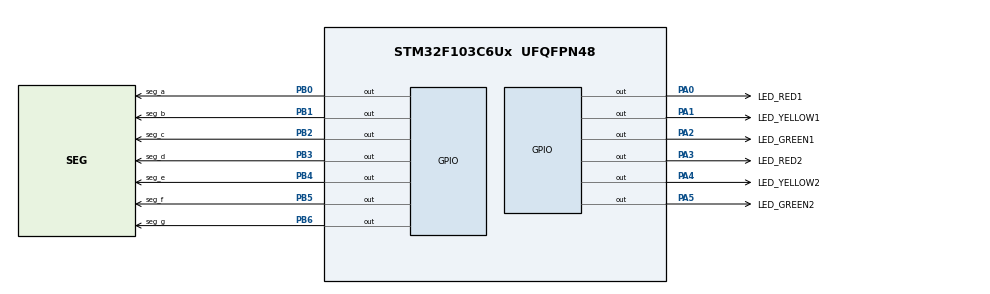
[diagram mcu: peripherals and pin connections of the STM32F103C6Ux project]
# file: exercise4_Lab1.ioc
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Mcu.Family=STM32F1
Mcu.Name=STM32F103C6Ux
Mcu.Package=UFQFPN48
NVIC.PriorityGroup=NVIC_PRIORITYGROUP_4
PA0-WKUP.GPIO_Label=LED_RED1
PA0-WKUP.Signal=GPIO_Output
PA1.GPIO_Label=LED_YELLOW1
PA1.Signal=GPIO_Output
PA2.GPIO_Label=LED_GREEN1
PA2.Signal=GPIO_Output
PA3.GPIO_Label=LED_RED2
PA3.Signal=GPIO_Output
PA4.GPIO_Label=LED_YELLOW2
PA4.Signal=GPIO_Output
PA5.GPIO_Label=LED_GREEN2
PA5.Signal=GPIO_Output
PB0.GPIO_Label=seg_a
PB0.Signal=GPIO_Output
PB1.GPIO_Label=seg_b
PB1.Signal=GPIO_Output
PB2.GPIO_Label=seg_c
PB2.Signal=GPIO_Output
PB3.GPIO_Label=seg_d
PB3.Signal=GPIO_Output
PB4.GPIO_Label=seg_e
PB4.Signal=GPIO_Output
PB5.GPIO_Label=seg_f
PB5.Signal=GPIO_Output
PB6.GPIO_Label=seg_g
PB6.Signal=GPIO_Output
ProjectManager.HeapSize=0x200
ProjectManager.StackSize=0x400
ProjectManager.TargetToolchain=STM32CubeIDE
RCC.APB1Freq_Value=8000000
RCC.APB2Freq_Value=8000000
VP_SYS_VS_ND.Mode=No_Debug
board=custom

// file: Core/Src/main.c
/* USER CODE BEGIN Header */
/**
  ******************************************************************************
  * @file           : main.c
  * @brief          : Main program body
  ******************************************************************************
  * @attention
  *
  * <h2><center>&copy; Copyright (c) 2023 STMicroelectronics.
  * All rights reserved.</center></h2>
  *
  * This software component is licensed by ST under BSD 3-Clause license,
  * the "License"; You may not use this file except in compliance with the
  * License. You may obtain a copy of the License at:
  *                        opensource.org/licenses/BSD-3-Clause
  *
  ******************************************************************************
  */
/* USER CODE END Header */
#include "main.h"

void SystemClock_Config(void);
static void MX_GPIO_Init(void);

int main(void)
{

  /* MCU Configuration--------------------------------------------------------*/

  /* Reset of all peripherals, Initializes the Flash interface and the Systick. */
  HAL_Init();

  /* Configure the system clock */
  SystemClock_Config();

  /* Initialize all configured peripherals */
  MX_GPIO_Init();

  /* Infinite loop */
  /* USER CODE BEGIN WHILE */
  void display7SEG(int num){
  	switch(num){
  	case 0:
  		HAL_GPIO_WritePin(GPIOB,seg_a_Pin,GPIO_PIN_RESET);
  		HAL_GPIO_WritePin(GPIOB,seg_b_Pin,GPIO_PIN_RESET);
  		HAL_GPIO_WritePin(GPIOB,seg_c_Pin,GPIO_PIN_RESET);
  		HAL_GPIO_WritePin(GPIOB,seg_d_Pin,GPIO_PIN_RESET);
  		HAL_GPIO_WritePin(GPIOB,seg_e_Pin,GPIO_PIN_RESET);
  		HAL_GPIO_WritePin(GPIOB,seg_f_Pin,GPIO_PIN_RESET);
  		HAL_GPIO_WritePin(GPIOB,seg_g_Pin,GPIO_PIN_SET);
  		break;
  	case 1:
  		HAL_GPIO_WritePin(GPIOB,seg_a_Pin,GPIO_PIN_SET);
  		HAL_GPIO_WritePin(GPIOB,seg_b_Pin,GPIO_PIN_RESET);
  		HAL_GPIO_WritePin(GPIOB,seg_c_Pin,GPIO_PIN_RESET);
  		HAL_GPIO_WritePin(GPIOB,seg_d_Pin,GPIO_PIN_SET);
  		HAL_GPIO_WritePin(GPIOB,seg_e_Pin,GPIO_PIN_SET);
  		HAL_GPIO_WritePin(GPIOB,seg_f_Pin,GPIO_PIN_SET);
  		HAL_GPIO_WritePin(GPIOB,seg_g_Pin,GPIO_PIN_SET);
  		break;
  	case 2:
  		HAL_GPIO_WritePin(GPIOB,seg_a_Pin,GPIO_PIN_RESET);
  		HAL_GPIO_WritePin(GPIOB,seg_b_Pin,GPIO_PIN_RESET);
  		HAL_GPIO_WritePin(GPIOB,seg_c_Pin,GPIO_PIN_SET);
  		HAL_GPIO_WritePin(GPIOB,seg_d_Pin,GPIO_PIN_RESET);
  		HAL_GPIO_WritePin(GPIOB,seg_e_Pin,GPIO_PIN_RESET);
  		HAL_GPIO_WritePin(GPIOB,seg_f_Pin,GPIO_PIN_SET);
  		HAL_GPIO_WritePin(GPIOB,seg_g_Pin,GPIO_PIN_RESET);
  		break;
  	case 3:
  		HAL_GPIO_WritePin(GPIOB,seg_a_Pin,GPIO_PIN_RESET);
  		HAL_GPIO_WritePin(GPIOB,seg_b_Pin,GPIO_PIN_RESET);
  		HAL_GPIO_WritePin(GPIOB,seg_c_Pin,GPIO_PIN_RESET);
  		HAL_GPIO_WritePin(GPIOB,seg_d_Pin,GPIO_PIN_RESET);
  		HAL_GPIO_WritePin(GPIOB,seg_e_Pin,GPIO_PIN_SET);
  		HAL_GPIO_WritePin(GPIOB,seg_f_Pin,GPIO_PIN_SET);
  		HAL_GPIO_WritePin(GPIOB,seg_g_Pin,GPIO_PIN_RESET);
  		break;
  	case 4:
  		HAL_GPIO_WritePin(GPIOB,seg_a_Pin,GPIO_PIN_SET);
  		HAL_GPIO_WritePin(GPIOB,seg_b_Pin,GPIO_PIN_RESET);
  		HAL_GPIO_WritePin(GPIOB,seg_c_Pin,GPIO_PIN_RESET);
  		HAL_GPIO_WritePin(GPIOB,seg_d_Pin,GPIO_PIN_SET);
  		HAL_GPIO_WritePin(GPIOB,seg_e_Pin,GPIO_PIN_SET);
  		HAL_GPIO_WritePin(GPIOB,seg_f_Pin,GPIO_PIN_RESET);
  		HAL_GPIO_WritePin(GPIOB,seg_g_Pin,GPIO_PIN_RESET);
  		break;
  	case 5:
  		HAL_GPIO_WritePin(GPIOB,seg_a_Pin,GPIO_PIN_RESET);
  		HAL_GPIO_WritePin(GPIOB,seg_b_Pin,GPIO_PIN_SET);
  		HAL_GPIO_WritePin(GPIOB,seg_c_Pin,GPIO_PIN_RESET);
  		HAL_GPIO_WritePin(GPIOB,seg_d_Pin,GPIO_PIN_RESET);
  		HAL_GPIO_WritePin(GPIOB,seg_e_Pin,GPIO_PIN_SET);
  		HAL_GPIO_WritePin(GPIOB,seg_f_Pin,GPIO_PIN_RESET);
  		HAL_GPIO_WritePin(GPIOB,seg_g_Pin,GPIO_PIN_RESET);
  		break;
  	case 6:
  		HAL_GPIO_WritePin(GPIOB,seg_a_Pin,GPIO_PIN_RESET);
  		HAL_GPIO_WritePin(GPIOB,seg_b_Pin,GPIO_PIN_SET);
  		HAL_GPIO_WritePin(GPIOB,seg_c_Pin,GPIO_PIN_RESET);
  		HAL_GPIO_WritePin(GPIOB,seg_d_Pin,GPIO_PIN_RESET);
  		HAL_GPIO_WritePin(GPIOB,seg_e_Pin,GPIO_PIN_RESET);
  		HAL_GPIO_WritePin(GPIOB,seg_f_Pin,GPIO_PIN_RESET);
  		HAL_GPIO_WritePin(GPIOB,seg_g_Pin,GPIO_PIN_RESET);
  		break;
  	case 7:
  		HAL_GPIO_WritePin(GPIOB,seg_a_Pin,GPIO_PIN_RESET);
  		HAL_GPIO_WritePin(GPIOB,seg_b_Pin,GPIO_PIN_RESET);
  		HAL_GPIO_WritePin(GPIOB,seg_c_Pin,GPIO_PIN_RESET);
  		HAL_GPIO_WritePin(GPIOB,seg_d_Pin,GPIO_PIN_SET);
  		HAL_GPIO_WritePin(GPIOB,seg_e_Pin,GPIO_PIN_SET);
  		HAL_GPIO_WritePin(GPIOB,seg_f_Pin,GPIO_PIN_SET);
  		HAL_GPIO_WritePin(GPIOB,seg_g_Pin,GPIO_PIN_SET);
  		break;
  	case 8:
  		HAL_GPIO_WritePin(GPIOB,seg_a_Pin,GPIO_PIN_RESET);
  		HAL_GPIO_WritePin(GPIOB,seg_b_Pin,GPIO_PIN_RESET);
  		HAL_GPIO_WritePin(GPIOB,seg_c_Pin,GPIO_PIN_RESET);
  		HAL_GPIO_WritePin(GPIOB,seg_d_Pin,GPIO_PIN_RESET);
  		HAL_GPIO_WritePin(GPIOB,seg_e_Pin,GPIO_PIN_RESET);
  		HAL_GPIO_WritePin(GPIOB,seg_f_Pin,GPIO_PIN_RESET);
  		HAL_GPIO_WritePin(GPIOB,seg_g_Pin,GPIO_PIN_RESET);
  		break;
  	case 9:
  		HAL_GPIO_WritePin(GPIOB,seg_a_Pin,GPIO_PIN_RESET);
  		HAL_GPIO_WritePin(GPIOB,seg_b_Pin,GPIO_PIN_RESET);
  		HAL_GPIO_WritePin(GPIOB,seg_c_Pin,GPIO_PIN_RESET);
  		HAL_GPIO_WritePin(GPIOB,seg_d_Pin,GPIO_PIN_RESET);
  		HAL_GPIO_WritePin(GPIOB,seg_e_Pin,GPIO_PIN_SET);
  		HAL_GPIO_WritePin(GPIOB,seg_f_Pin,GPIO_PIN_RESET);
  		HAL_GPIO_WritePin(GPIOB,seg_g_Pin,GPIO_PIN_RESET);
  		break;
  	}
  }
  int num=0;
  while (1)
  {
    /* USER CODE END WHILE */
	  //LED_RED1_on, LED_green2_on
	 if(num>=10)num=0;
	  display7SEG(num++);
	  HAL_Delay(1000);
  }
}

void SystemClock_Config(void)
{
  RCC_OscInitTypeDef RCC_OscInitStruct = {0};
  RCC_ClkInitTypeDef RCC_ClkInitStruct = {0};

  /** Initializes the RCC Oscillators according to the specified parameters
  * in the RCC_OscInitTypeDef structure.
  */
  RCC_OscInitStruct.OscillatorType = RCC_OSCILLATORTYPE_HSI;
  RCC_OscInitStruct.HSIState = RCC_HSI_ON;
  RCC_OscInitStruct.HSICalibrationValue = RCC_HSICALIBRATION_DEFAULT;
  RCC_OscInitStruct.PLL.PLLState = RCC_PLL_NONE;
  if (HAL_RCC_OscConfig(&RCC_OscInitStruct) != HAL_OK)
  {
    Error_Handler();
  }
  /** Initializes the CPU, AHB and APB buses clocks
  */
  RCC_ClkInitStruct.ClockType = RCC_CLOCKTYPE_HCLK|RCC_CLOCKTYPE_SYSCLK
                              |RCC_CLOCKTYPE_PCLK1|RCC_CLOCKTYPE_PCLK2;
  RCC_ClkInitStruct.SYSCLKSource = RCC_SYSCLKSOURCE_HSI;
  RCC_ClkInitStruct.AHBCLKDivider = RCC_SYSCLK_DIV1;
  RCC_ClkInitStruct.APB1CLKDivider = RCC_HCLK_DIV1;
  RCC_ClkInitStruct.APB2CLKDivider = RCC_HCLK_DIV1;

  if (HAL_RCC_ClockConfig(&RCC_ClkInitStruct, FLASH_LATENCY_0) != HAL_OK)
  {
    Error_Handler();
  }
}

static void MX_GPIO_Init(void)
{
  GPIO_InitTypeDef GPIO_InitStruct = {0};

  /* GPIO Ports Clock Enable */
  __HAL_RCC_GPIOA_CLK_ENABLE();
  __HAL_RCC_GPIOB_CLK_ENABLE();

  /*Configure GPIO pin Output Level */
  HAL_GPIO_WritePin(GPIOA, LED_RED1_Pin|LED_YELLOW1_Pin|LED_GREEN1_Pin|LED_RED2_Pin
                          |LED_YELLOW2_Pin|LED_GREEN2_Pin, GPIO_PIN_RESET);

  /*Configure GPIO pin Output Level */
  HAL_GPIO_WritePin(GPIOB, seg_a_Pin|seg_b_Pin|seg_c_Pin|seg_d_Pin
                          |seg_e_Pin|seg_f_Pin|seg_g_Pin, GPIO_PIN_RESET);

  /*Configure GPIO pins : LED_RED1_Pin LED_YELLOW1_Pin LED_GREEN1_Pin LED_RED2_Pin
                           LED_YELLOW2_Pin LED_GREEN2_Pin */
  GPIO_InitStruct.Pin = LED_RED1_Pin|LED_YELLOW1_Pin|LED_GREEN1_Pin|LED_RED2_Pin
                          |LED_YELLOW2_Pin|LED_GREEN2_Pin;
  GPIO_InitStruct.Mode = GPIO_MODE_OUTPUT_PP;
  GPIO_InitStruct.Pull = GPIO_NOPULL;
  GPIO_InitStruct.Speed = GPIO_SPEED_FREQ_LOW;
  HAL_GPIO_Init(GPIOA, &GPIO_InitStruct);

  /*Configure GPIO pins : seg_a_Pin seg_b_Pin seg_c_Pin seg_d_Pin
                           seg_e_Pin seg_f_Pin seg_g_Pin */
  GPIO_InitStruct.Pin = seg_a_Pin|seg_b_Pin|seg_c_Pin|seg_d_Pin
                          |seg_e_Pin|seg_f_Pin|seg_g_Pin;
  GPIO_InitStruct.Mode = GPIO_MODE_OUTPUT_PP;
  GPIO_InitStruct.Pull = GPIO_NOPULL;
  GPIO_InitStruct.Speed = GPIO_SPEED_FREQ_LOW;
  HAL_GPIO_Init(GPIOB, &GPIO_InitStruct);

}

void Error_Handler(void)
{
  __disable_irq();
  while (1)
  {
  }
}

/************************ (C) COPYRIGHT STMicroelectronics *****END OF FILE****/
